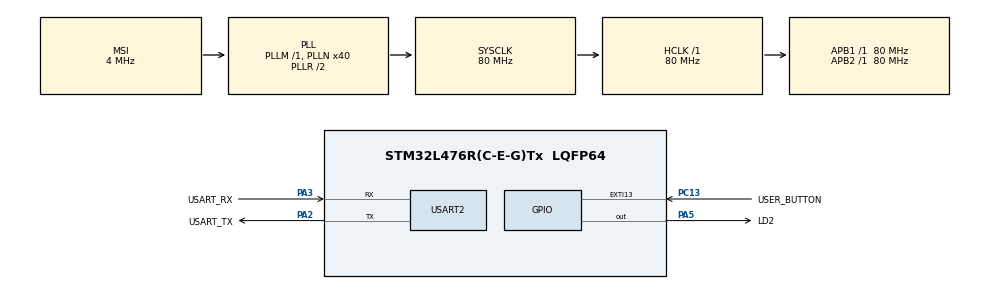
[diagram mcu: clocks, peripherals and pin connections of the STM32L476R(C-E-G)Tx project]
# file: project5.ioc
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IWDG.Prescaler=IWDG_PRESCALER_32
Mcu.Family=STM32L4
Mcu.Name=STM32L476R(C-E-G)Tx
Mcu.Package=LQFP64
NVIC.PriorityGroup=NVIC_PRIORITYGROUP_4
PA13\ (JTMS-SWDIO).GPIO_Label=TMS
PA13\ (JTMS-SWDIO).Mode=Serial_Wire
PA13\ (JTMS-SWDIO).Signal=SYS_JTMS-SWDIO
PA14\ (JTCK-SWCLK).GPIO_Label=TCK
PA14\ (JTCK-SWCLK).Mode=Serial_Wire
PA14\ (JTCK-SWCLK).Signal=SYS_JTCK-SWCLK
PA2.GPIO_Label=USART_TX
PA2.GPIO_Mode=GPIO_MODE_AF_PP
PA2.GPIO_PuPd=GPIO_NOPULL
PA2.GPIO_Speed=GPIO_SPEED_FREQ_VERY_HIGH
PA2.Mode=Asynchronous
PA2.Signal=USART2_TX
PA3.GPIO_Label=USART_RX
PA3.GPIO_Mode=GPIO_MODE_AF_PP
PA3.GPIO_PuPd=GPIO_NOPULL
PA3.GPIO_Speed=GPIO_SPEED_FREQ_VERY_HIGH
PA3.Mode=Asynchronous
PA3.Signal=USART2_RX
PA5.GPIO_Label=LD2
PA5.GPIO_ModeDefaultOutputPP=GPIO_MODE_OUTPUT_PP
PA5.GPIO_PuPd=GPIO_NOPULL
PA5.GPIO_Speed=GPIO_SPEED_FREQ_LOW
PA5.Signal=GPIO_Output
PB3\ (JTDO-TRACESWO).GPIO_Label=SWO
PB3\ (JTDO-TRACESWO).Signal=SYS_JTDO-SWO
PC13.GPIO_Label=USER_BUTTON
PC13.GPIO_ModeDefaultEXTI=GPIO_MODE_IT_FALLING
PC13.GPIO_PuPd=GPIO_NOPULL
PC13.Signal=GPXTI13
PC14-OSC32_IN\ (PC14).Mode=LSE-External-Oscillator
PC14-OSC32_IN\ (PC14).Signal=RCC_OSC32_IN
PC15-OSC32_OUT\ (PC15).Mode=LSE-External-Oscillator
PC15-OSC32_OUT\ (PC15).Signal=RCC_OSC32_OUT
PH0-OSC_IN\ (PH0).Signal=RCC_OSC_IN
PH1-OSC_OUT\ (PH1).Signal=RCC_OSC_OUT
ProjectManager.HeapSize=0x200
ProjectManager.StackSize=0x400
ProjectManager.TargetToolchain=STM32CubeIDE
RCC.ADCFreq_Value=16000000
RCC.AHBFreq_Value=80000000
RCC.APB1Freq_Value=80000000
RCC.APB1TimFreq_Value=80000000
RCC.APB2Freq_Value=80000000
RCC.APB2TimFreq_Value=80000000
RCC.CortexFreq_Value=80000000
RCC.HCLKFreq_Value=80000000
RCC.HSE_VALUE=8000000
RCC.HSI_VALUE=16000000
RCC.MSI_VALUE=4000000
RCC.PLLN=40
RCC.PREFETCH_ENABLE=1
RCC.RTCClockSelection=RCC_RTCCLKSOURCE_LSE
RCC.SYSCLKFreq_VALUE=80000000
RCC.SYSCLKSource=RCC_SYSCLKSOURCE_PLLCLK
RCC.USBFreq_Value=16000000
RCC.VCOOutputFreq_Value=160000000
USART2.VirtualMode-Asynchronous=VM_ASYNC
VP_IWDG_VS_IWDG.Mode=IWDG_Activate
VP_RTC_VS_RTC_Activate.Mode=RTC_Enabled
VP_RTC_VS_RTC_WakeUp_intern.Mode=WakeUp
board=NUCLEO-L476RG

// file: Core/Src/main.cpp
/* USER CODE BEGIN Header */
/**
  ******************************************************************************
  * @file           : main.c
  * @brief          : Main program body
  ******************************************************************************
  * @attention
  *
  * Copyright (c) 2024 STMicroelectronics.
  * All rights reserved.
  *
  * This software is licensed under terms that can be found in the LICENSE file
  * in the root directory of this software component.
  * If no LICENSE file comes with this software, it is provided AS-IS.
  *
  ******************************************************************************
  */
#ifdef __cplusplus
extern "C" {
#endif
/* USER CODE END Header */
#include "main.h"

/* USER CODE BEGIN Includes */
#ifdef __cplusplus
}
#endif

#include <vector>
#include <iostream>
/* USER CODE END Includes */

IWDG_HandleTypeDef hiwdg;

RTC_HandleTypeDef hrtc;

UART_HandleTypeDef huart2;

void SystemClock_Config(void);
static void MX_GPIO_Init(void);
static void MX_USART2_UART_Init(void);
static void MX_RTC_Init(void);
static void MX_IWDG_Init(void);

/* USER CODE BEGIN 0 */
#ifdef __cplusplus
extern "C" {
#endif
	int __io_putchar(int ch)
	{
		if (ch == '\n') {
			uint8_t ch2 = '\r';
			HAL_UART_Transmit(&huart2, &ch2, 1, HAL_MAX_DELAY);
		}

		HAL_UART_Transmit(&huart2, (uint8_t*)&ch, 1, HAL_MAX_DELAY);
		return 1;
	}

	bool is_button_pressed(void)
	{
	  if (HAL_GPIO_ReadPin(USER_BUTTON_GPIO_Port, USER_BUTTON_Pin) == GPIO_PIN_RESET) {
		return true;
	  } else {
		return false;
	  }
	}
#ifdef __cplusplus
}
#endif

/* USER CODE END 0 */

int main(void)
{

  /* MCU Configuration--------------------------------------------------------*/

  /* Reset of all peripherals, Initializes the Flash interface and the Systick. */
  HAL_Init();

  /* Configure the system clock */
  SystemClock_Config();

  /* Initialize all configured peripherals */
  MX_GPIO_Init();
  MX_USART2_UART_Init();
  MX_RTC_Init();
  MX_IWDG_Init();

  /* Infinite loop */
  /* USER CODE BEGIN WHILE */
  int i;

  for (i = 0; i < 10; i++) {
    HAL_GPIO_TogglePin(LD2_GPIO_Port, LD2_Pin);
    HAL_Delay(100);
  }

  uint32_t last_ms = HAL_GetTick();
  while (1)
  {
	  uint32_t now = HAL_GetTick();
	  	  if (is_button_pressed()) {
	  		  while (1) ;
	  	  }

	  	  if (now - last_ms >= 500) {
	  		  HAL_GPIO_TogglePin(LD2_GPIO_Port, LD2_Pin);
	  		  last_ms = now;

	  		  HAL_IWDG_Refresh(&hiwdg);
	  	  }
    /* USER CODE END WHILE */

  }
}

void SystemClock_Config(void)
{
  RCC_OscInitTypeDef RCC_OscInitStruct = {0};
  RCC_ClkInitTypeDef RCC_ClkInitStruct = {0};

  /** Configure the main internal regulator output voltage
  */
  if (HAL_PWREx_ControlVoltageScaling(PWR_REGULATOR_VOLTAGE_SCALE1) != HAL_OK)
  {
    Error_Handler();
  }

  /** Configure LSE Drive Capability
  */
  HAL_PWR_EnableBkUpAccess();
  __HAL_RCC_LSEDRIVE_CONFIG(RCC_LSEDRIVE_LOW);

  /** Initializes the RCC Oscillators according to the specified parameters
  * in the RCC_OscInitTypeDef structure.
  */
  RCC_OscInitStruct.OscillatorType = RCC_OSCILLATORTYPE_LSI|RCC_OSCILLATORTYPE_LSE
                              |RCC_OSCILLATORTYPE_MSI;
  RCC_OscInitStruct.LSEState = RCC_LSE_ON;
  RCC_OscInitStruct.LSIState = RCC_LSI_ON;
  RCC_OscInitStruct.MSIState = RCC_MSI_ON;
  RCC_OscInitStruct.MSICalibrationValue = 0;
  RCC_OscInitStruct.MSIClockRange = RCC_MSIRANGE_6;
  RCC_OscInitStruct.PLL.PLLState = RCC_PLL_ON;
  RCC_OscInitStruct.PLL.PLLSource = RCC_PLLSOURCE_MSI;
  RCC_OscInitStruct.PLL.PLLM = 1;
  RCC_OscInitStruct.PLL.PLLN = 40;
  RCC_OscInitStruct.PLL.PLLP = RCC_PLLP_DIV7;
  RCC_OscInitStruct.PLL.PLLQ = RCC_PLLQ_DIV2;
  RCC_OscInitStruct.PLL.PLLR = RCC_PLLR_DIV2;
  if (HAL_RCC_OscConfig(&RCC_OscInitStruct) != HAL_OK)
  {
    Error_Handler();
  }

  /** Initializes the CPU, AHB and APB buses clocks
  */
  RCC_ClkInitStruct.ClockType = RCC_CLOCKTYPE_HCLK|RCC_CLOCKTYPE_SYSCLK
                              |RCC_CLOCKTYPE_PCLK1|RCC_CLOCKTYPE_PCLK2;
  RCC_ClkInitStruct.SYSCLKSource = RCC_SYSCLKSOURCE_PLLCLK;
  RCC_ClkInitStruct.AHBCLKDivider = RCC_SYSCLK_DIV1;
  RCC_ClkInitStruct.APB1CLKDivider = RCC_HCLK_DIV1;
  RCC_ClkInitStruct.APB2CLKDivider = RCC_HCLK_DIV1;

  if (HAL_RCC_ClockConfig(&RCC_ClkInitStruct, FLASH_LATENCY_4) != HAL_OK)
  {
    Error_Handler();
  }

  /** Enable MSI Auto calibration
  */
  HAL_RCCEx_EnableMSIPLLMode();
}

static void MX_IWDG_Init(void)
{

  hiwdg.Instance = IWDG;
  hiwdg.Init.Prescaler = IWDG_PRESCALER_32;
  hiwdg.Init.Window = 4095;
  hiwdg.Init.Reload = 4095;
  if (HAL_IWDG_Init(&hiwdg) != HAL_OK)
  {
    Error_Handler();
  }

}

static void MX_RTC_Init(void)
{

  /** Initialize RTC Only
  */
  hrtc.Instance = RTC;
  hrtc.Init.HourFormat = RTC_HOURFORMAT_24;
  hrtc.Init.AsynchPrediv = 127;
  hrtc.Init.SynchPrediv = 255;
  hrtc.Init.OutPut = RTC_OUTPUT_DISABLE;
  hrtc.Init.OutPutRemap = RTC_OUTPUT_REMAP_NONE;
  hrtc.Init.OutPutPolarity = RTC_OUTPUT_POLARITY_HIGH;
  hrtc.Init.OutPutType = RTC_OUTPUT_TYPE_OPENDRAIN;
  if (HAL_RTC_Init(&hrtc) != HAL_OK)
  {
    Error_Handler();
  }

}

static void MX_USART2_UART_Init(void)
{

  huart2.Instance = USART2;
  huart2.Init.BaudRate = 115200;
  huart2.Init.WordLength = UART_WORDLENGTH_8B;
  huart2.Init.StopBits = UART_STOPBITS_1;
  huart2.Init.Parity = UART_PARITY_NONE;
  huart2.Init.Mode = UART_MODE_TX_RX;
  huart2.Init.HwFlowCtl = UART_HWCONTROL_NONE;
  huart2.Init.OverSampling = UART_OVERSAMPLING_16;
  huart2.Init.OneBitSampling = UART_ONE_BIT_SAMPLE_DISABLE;
  huart2.AdvancedInit.AdvFeatureInit = UART_ADVFEATURE_NO_INIT;
  if (HAL_UART_Init(&huart2) != HAL_OK)
  {
    Error_Handler();
  }

}

static void MX_GPIO_Init(void)
{
  GPIO_InitTypeDef GPIO_InitStruct = {0};

  /* GPIO Ports Clock Enable */
  __HAL_RCC_GPIOC_CLK_ENABLE();
  __HAL_RCC_GPIOH_CLK_ENABLE();
  __HAL_RCC_GPIOA_CLK_ENABLE();
  __HAL_RCC_GPIOB_CLK_ENABLE();

  /*Configure GPIO pin Output Level */
  HAL_GPIO_WritePin(LD2_GPIO_Port, LD2_Pin, GPIO_PIN_RESET);

  /*Configure GPIO pin : USER_BUTTON_Pin */
  GPIO_InitStruct.Pin = USER_BUTTON_Pin;
  GPIO_InitStruct.Mode = GPIO_MODE_IT_FALLING;
  GPIO_InitStruct.Pull = GPIO_NOPULL;
  HAL_GPIO_Init(USER_BUTTON_GPIO_Port, &GPIO_InitStruct);

  /*Configure GPIO pin : LD2_Pin */
  GPIO_InitStruct.Pin = LD2_Pin;
  GPIO_InitStruct.Mode = GPIO_MODE_OUTPUT_PP;
  GPIO_InitStruct.Pull = GPIO_NOPULL;
  GPIO_InitStruct.Speed = GPIO_SPEED_FREQ_LOW;
  HAL_GPIO_Init(LD2_GPIO_Port, &GPIO_InitStruct);

}

void Error_Handler(void)
{
  __disable_irq();
  while (1)
  {
  }
}
